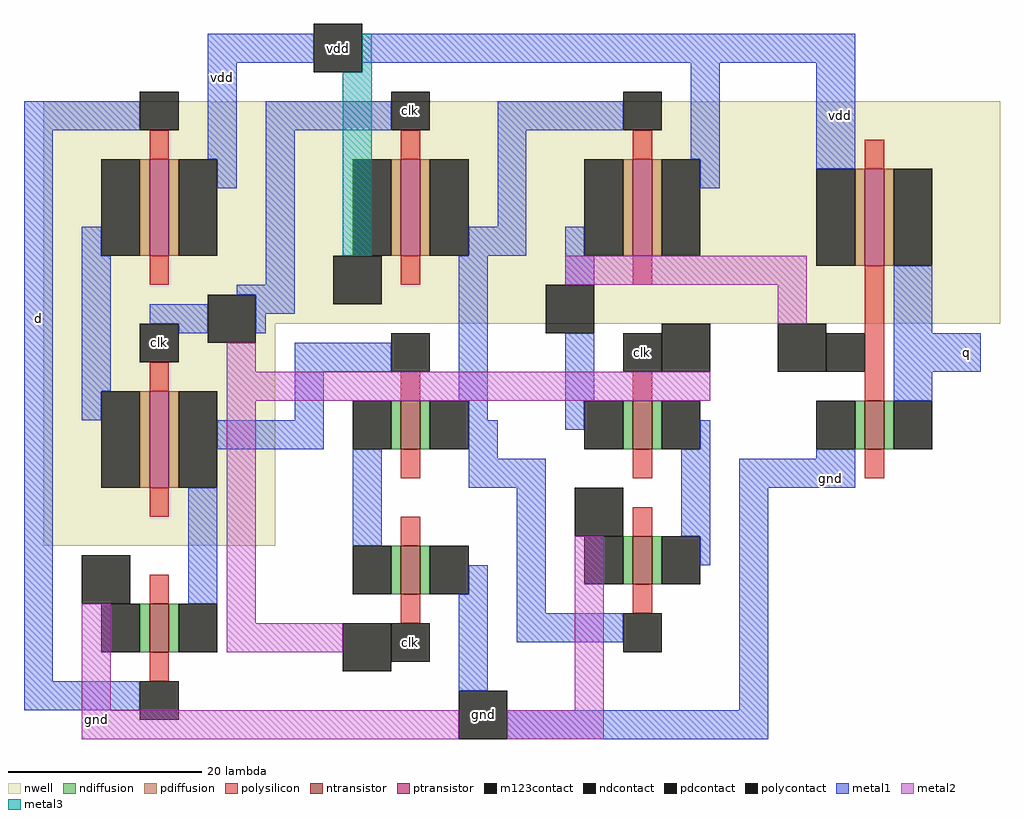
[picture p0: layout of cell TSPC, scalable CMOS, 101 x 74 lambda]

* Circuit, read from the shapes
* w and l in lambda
.subckt TSPC clk d gnd q vdd
M1 n1 d gnd VSUBS nfet w=5 l=2
M2 gnd clk n2 VSUBS nfet w=5 l=2
M3 n3 n1 n2 VSUBS nfet w=5 l=2
M4 n4 n3 gnd VSUBS nfet w=5 l=2
M5 n4 clk n5 VSUBS nfet w=5 l=2
M6 q n5 gnd VSUBS nfet w=5 l=2
M7 n1 clk n6 n7 pfet w=10 l=2
M8 vdd d n6 n7 pfet w=10 l=2
M9 n3 clk vdd n7 pfet w=10 l=2
M10 vdd n3 n5 n7 pfet w=10 l=2
M11 q n5 vdd n7 pfet w=10 l=2
.ends

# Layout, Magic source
magic
tech scmos
<< nwell >>
rect -14 -11 85 12
rect -14 -34 10 -11
<< ntransistor >>
rect 23 -24 25 -19
rect 47 -24 49 -19
rect 71 -24 73 -19
rect 23 -39 25 -34
rect 47 -38 49 -33
rect -3 -45 -1 -40
<< ptransistor >>
rect -3 -4 -1 6
rect 23 -4 25 6
rect 47 -4 49 6
rect 71 -5 73 5
rect -3 -28 -1 -18
<< ndiffusion >>
rect 22 -24 23 -19
rect 25 -24 26 -19
rect 46 -24 47 -19
rect 49 -24 50 -19
rect 70 -24 71 -19
rect 73 -24 74 -19
rect 22 -39 23 -34
rect 25 -39 26 -34
rect 46 -38 47 -33
rect 49 -38 50 -33
rect -4 -45 -3 -40
rect -1 -45 0 -40
<< pdiffusion >>
rect -4 -4 -3 6
rect -1 -4 0 6
rect 22 -4 23 6
rect 25 -4 26 6
rect 46 -4 47 6
rect 49 -4 50 6
rect 70 -5 71 5
rect 73 -5 74 5
rect -4 -28 -3 -18
rect -1 -28 0 -18
<< ndcontact >>
rect 18 -24 22 -19
rect 26 -24 30 -19
rect 42 -24 46 -19
rect 50 -24 54 -19
rect 66 -24 70 -19
rect 74 -24 78 -19
rect 18 -39 22 -34
rect 26 -39 30 -34
rect 42 -38 46 -33
rect 50 -38 54 -33
rect -8 -45 -4 -40
rect 0 -45 4 -40
<< pdcontact >>
rect -8 -4 -4 6
rect 0 -4 4 6
rect 18 -4 22 6
rect 26 -4 30 6
rect 42 -4 46 6
rect 50 -4 54 6
rect 66 -5 70 5
rect 74 -5 78 5
rect -8 -28 -4 -18
rect 0 -28 4 -18
<< polysilicon >>
rect -3 6 -1 9
rect 23 6 25 9
rect 47 6 49 9
rect 71 5 73 8
rect -3 -7 -1 -4
rect 23 -7 25 -4
rect 47 -7 49 -4
rect -3 -18 -1 -15
rect 23 -19 25 -16
rect 47 -19 49 -16
rect 71 -19 73 -5
rect 23 -27 25 -24
rect 47 -27 49 -24
rect 71 -27 73 -24
rect -3 -31 -1 -28
rect 23 -34 25 -31
rect 47 -33 49 -30
rect -3 -40 -1 -37
rect 23 -42 25 -39
rect 47 -41 49 -38
rect -3 -48 -1 -45
<< polycontact >>
rect -4 9 0 13
rect 22 9 26 13
rect 46 9 50 13
rect -4 -15 0 -11
rect 22 -16 26 -12
rect 46 -16 50 -12
rect 67 -16 71 -12
rect 22 -46 26 -42
rect 46 -45 50 -41
rect -4 -52 0 -48
<< metal1 >>
rect 3 16 14 19
rect -16 9 -4 12
rect -16 -48 -13 9
rect 3 6 6 16
rect 19 16 70 19
rect -10 -4 -8 -1
rect 4 3 6 6
rect 9 9 22 12
rect 33 9 46 12
rect -10 -18 -7 -4
rect 9 -7 12 9
rect 33 -1 36 9
rect 53 6 56 16
rect 30 -4 36 -1
rect 40 -4 42 -1
rect 54 3 56 6
rect 66 5 70 16
rect 6 -8 12 -7
rect -3 -11 3 -9
rect 0 -12 3 -11
rect 8 -10 12 -8
rect 8 -12 9 -10
rect 12 -16 22 -13
rect -10 -21 -8 -18
rect 12 -21 15 -16
rect 29 -19 32 -4
rect 40 -7 43 -4
rect 4 -24 15 -21
rect 30 -21 32 -19
rect 40 -19 43 -12
rect 74 -12 78 -5
rect 74 -16 83 -12
rect 74 -19 78 -16
rect 1 -40 4 -28
rect 18 -34 21 -24
rect 30 -25 33 -21
rect 40 -22 42 -19
rect 54 -24 55 -21
rect 30 -28 38 -25
rect 30 -39 32 -36
rect -16 -51 -4 -48
rect 29 -49 32 -39
rect 35 -41 38 -28
rect 52 -33 55 -24
rect 66 -25 70 -24
rect 54 -36 55 -33
rect 58 -28 70 -25
rect 35 -44 46 -41
rect 58 -51 61 -28
rect 34 -54 61 -51
<< metal2 >>
rect 40 -7 65 -4
rect 62 -11 65 -7
rect 5 -16 8 -13
rect 5 -19 55 -16
rect -10 -51 -7 -40
rect 5 -42 8 -19
rect 5 -45 17 -42
rect -10 -54 29 -51
rect 41 -51 44 -33
rect 34 -54 44 -51
<< m123contact >>
rect 14 15 19 20
rect 3 -13 8 -8
rect 16 -9 21 -4
rect 38 -12 43 -7
rect 50 -16 55 -11
rect 62 -16 67 -11
rect -10 -40 -5 -35
rect 41 -33 46 -28
rect 17 -47 22 -42
rect 29 -54 34 -49
<< metal3 >>
rect 19 15 20 19
rect 17 -4 20 15
<< labels >>
rlabel metal1 -16 -12 -13 -9 3 d
rlabel polycontact -4 -15 0 -11 1 clk
rlabel metal1 3 13 6 16 5 vdd
rlabel metal2 -10 -53 -7 -51 1 gnd
rlabel polycontact 22 9 26 13 5 clk
rlabel polycontact 22 -46 26 -42 1 clk
rlabel polycontact 46 -16 50 -12 1 clk
rlabel metal1 67 9 70 12 5 vdd
rlabel metal1 66 -28 69 -26 1 gnd
rlabel metal1 80 -16 83 -12 1 q
rlabel m123contact 29 -54 34 -49 1 gnd
rlabel m123contact 14 15 19 20 5 vdd
<< end >>
